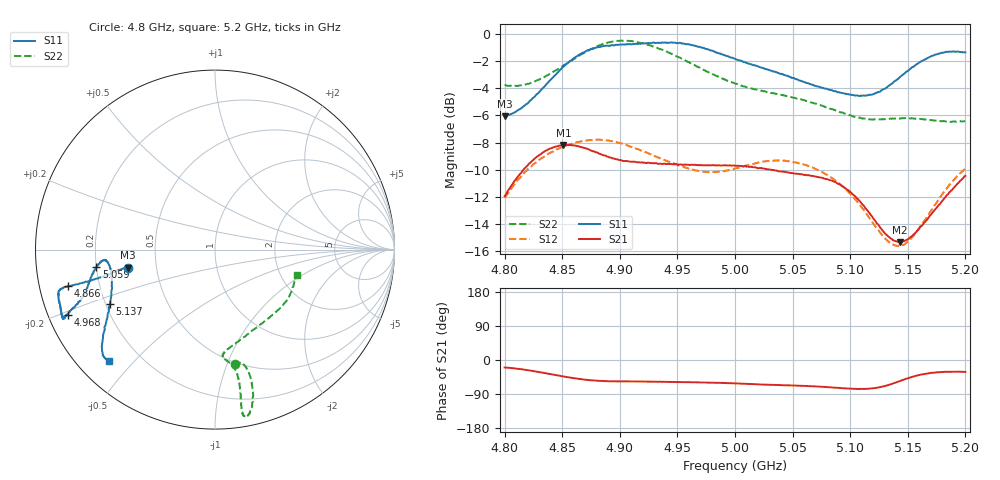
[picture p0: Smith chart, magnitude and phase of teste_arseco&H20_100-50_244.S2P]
! Network Analyzer HP8722D
! Hewlett-Packard
! Data name: Linha & Wilkinson
! Saver's name: Rodrigo Anjos
! Comments: Teste da utilização de aquisição
! continua pelo VNA HP8722D
! Time and date: 6/5/2025 14:36
!  Frequency  S11  S21  S12  S22
# HZ  S  MA R 50
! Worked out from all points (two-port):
!   401 points, 4.8 GHz to 5.2 GHz, reference 50 ohm
!   highest |S21| = -8.17 dB at 4.851 GHz (marker M1); lowest = -15.3 dB at 5.143 GHz (marker M2)
!   |S21| within 3 dB of the highest: 4.806 GHz to 5.092 GHz (286.4 MHz wide, 5.79 % of centre); 5.191544 GHz to end of sweep
!   lowest |S11| = -6.1 dB at 4.8 GHz (marker M3), VSWR 2.97, Z = 17 - j4.57 ohm
!   |S11| at or under -10 dB: nowhere
!   |S22| runs from -6.5 to -0.5 dB; largest |S21 - S12| = 0.62
!   S11 on the Smith chart (normalised r, x): 4.8 GHz: 0.34, -0.09; 4.866 GHz: 0.09, -0.12; 4.968 GHz: 0.06, -0.21; 5.059 GHz: 0.20, -0.07; 5.137 GHz: 0.22, -0.23; 5.2 GHz: 0.09, -0.42
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4.8e9  0.4968 -168.2  0.2526 -19.8  0.2489 -140.9  0.6487 -80.3
4.823e9  0.5707 -167.5  0.3382 -28.1  0.3248 -143.9  0.6603 -76.0
4.851e9  0.7567 -165.9  0.3906 -43.3  0.3852 -149.3  0.7656 -74.5
4.866e9  0.843 -166.0  0.3834 -50.4  0.4021 -151.9  0.8394 -75.3
4.867e9  0.8491 -165.9  0.3829 -50.9  0.4028 -152.0  0.8433 -75.5
4.883e9  0.8968 -165.2  0.3615 -55.1  0.4082 -154.8  0.9088 -77.1
4.902e9  0.9131 -162.4  0.3417 -56.4  0.3951 -156.9  0.9446 -79.4
4.934e9  0.9269 -156.4  0.3328 -57.5  0.3504 -155.8  0.8821 -80.5
4.968e9  0.897 -156.2  0.3292 -59.1  0.3134 -147.6  0.7557 -79.6
5e9  0.8102 -159.0  0.3274 -61.9  0.3198 -137.2  0.6572 -81.3
5.035e9  0.7242 -165.3  0.3141 -65.8  0.3419 -134.4  0.6028 -85.6
5.059e9  0.6677 -171.5  0.3036 -68.3  0.3312 -136.1  0.5711 -84.4
5.067e9  0.6509 -173.0  0.3003 -69.1  0.3229 -136.9  0.5576 -82.7
5.084e9  0.6214 -174.5  0.2887 -72.4  0.2952 -138.4  0.5287 -76.2
5.101e9  0.5976 -172.1  0.2601 -75.8  0.2554 -138.8  0.5 -66.6
5.117e9  0.5967 -164.9  0.2182 -75.5  0.2091 -135.1  0.485 -55.1
5.134e9  0.6463 -154.3  0.1784 -65.3  0.1709 -120.7  0.4871 -43.3
5.137e9  0.6597 -152.5  0.1743 -62.3  0.1679 -116.8  0.4886 -41.5
5.143e9  0.6929 -149.4  0.1716 -55.9  0.1659 -108.9  0.4883 -38.1
5.154e9  0.7555 -144.6  0.1811 -44.2  0.1791 -95.1  0.489 -32.3
5.172e9  0.8333 -139.2  0.2213 -33.7  0.2296 -81.1  0.4805 -24.6
5.2e9  0.8546 -133.7  0.3004 -31.4  0.3191 -77.0  0.4773 -17.5
